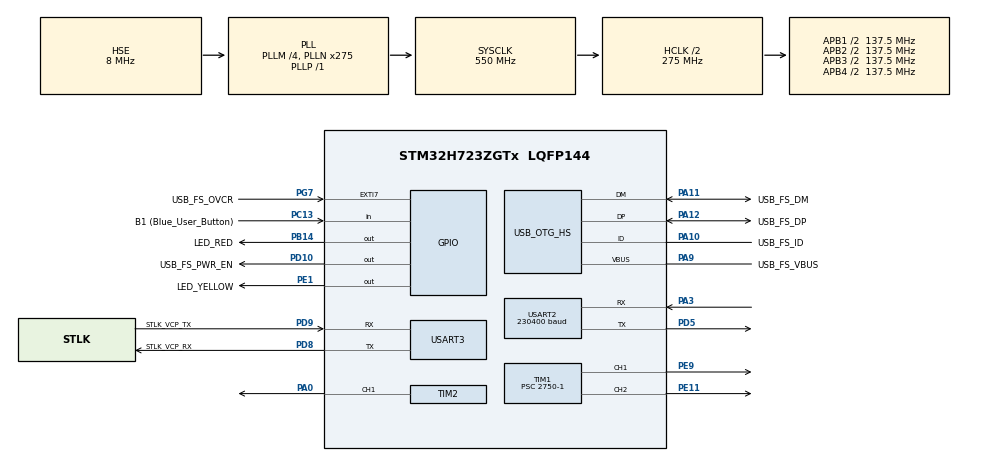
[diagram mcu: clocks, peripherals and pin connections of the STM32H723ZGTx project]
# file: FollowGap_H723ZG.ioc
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Dma.Request0=USART2_RX
Dma.USART2_RX.0.Direction=DMA_PERIPH_TO_MEMORY
Dma.USART2_RX.0.EventEnable=DISABLE
Dma.USART2_RX.0.FIFOMode=DMA_FIFOMODE_DISABLE
Dma.USART2_RX.0.Instance=DMA1_Stream0
Dma.USART2_RX.0.MemDataAlignment=DMA_MDATAALIGN_BYTE
Dma.USART2_RX.0.MemInc=DMA_MINC_ENABLE
Dma.USART2_RX.0.Mode=DMA_CIRCULAR
Dma.USART2_RX.0.PeriphDataAlignment=DMA_PDATAALIGN_BYTE
Dma.USART2_RX.0.PeriphInc=DMA_PINC_DISABLE
Dma.USART2_RX.0.Polarity=HAL_DMAMUX_REQ_GEN_RISING
Dma.USART2_RX.0.Priority=DMA_PRIORITY_LOW
Dma.USART2_RX.0.RequestNumber=1
Dma.USART2_RX.0.SignalID=NONE
Dma.USART2_RX.0.SyncEnable=DISABLE
Dma.USART2_RX.0.SyncPolarity=HAL_DMAMUX_SYNC_NO_EVENT
Dma.USART2_RX.0.SyncRequestNumber=1
Dma.USART2_RX.0.SyncSignalID=NONE
Mcu.Family=STM32H7
Mcu.Name=STM32H723ZGTx
Mcu.Package=LQFP144
NVIC.DMA1_Stream0_IRQn=true\:0\:0\:false\:false\:true\:false\:true\:true
NVIC.PriorityGroup=NVIC_PRIORITYGROUP_4
NVIC.USART2_IRQn=true\:0\:0\:false\:false\:true\:true\:true\:true
PA0.Signal=S_TIM2_CH1_ETR
PA10.GPIO_Label=USB_FS_ID
PA10.Mode=OTG/Dual-Role-Device-FS
PA10.Signal=USB_OTG_HS_ID
PA11.GPIO_Label=USB_FS_DM
PA11.Mode=OTG/Dual-Role-Device-FS
PA11.Signal=USB_OTG_HS_DM
PA12.GPIO_Label=USB_FS_DP
PA12.Mode=OTG/Dual-Role-Device-FS
PA12.Signal=USB_OTG_HS_DP
PA13(JTMS/SWDIO).GPIO_Label=SWDIO
PA13(JTMS/SWDIO).Mode=Trace_Asynchronous_SW
PA13(JTMS/SWDIO).Signal=DEBUG_JTMS-SWDIO
PA14(JTCK/SWCLK).GPIO_Label=SWCLK
PA14(JTCK/SWCLK).Mode=Trace_Asynchronous_SW
PA14(JTCK/SWCLK).Signal=DEBUG_JTCK-SWCLK
PA3.Mode=Asynchronous
PA3.Signal=USART2_RX
PA7.GPIO_Label=RMII_CRS_DV
PA7.Signal=ETH_CRS_DV
PA9.GPIO_Label=USB_FS_VBUS
PA9.Mode=Activate_VBUS_FS
PA9.Signal=USB_OTG_HS_VBUS
PB13.GPIO_Label=RMII_TXD1
PB13.Signal=ETH_TXD1
PB14.GPIO_Label=LED_RED
PB14.Signal=GPIO_Output
PB3(JTDO/TRACESWO).GPIO_Label=SWO
PB3(JTDO/TRACESWO).Mode=Trace_Asynchronous_SW
PB3(JTDO/TRACESWO).Signal=DEBUG_JTDO-SWO
PC1.GPIO_Label=RMII_MDC
PC1.Signal=ETH_MDC
PC13.GPIO_Label=B1 (Blue_User_Button)
PC13.Signal=GPIO_Input
PC14-OSC32_IN.Signal=RCC_OSC32_IN
PC15-OSC32_OUT.Signal=RCC_OSC32_OUT
PC4.GPIO_Label=RMII_RXD0
PC4.Signal=ETH_RXD0
PC5.GPIO_Label=RMII_RXD1
PC5.Signal=ETH_RXD1
PD10.GPIO_Label=USB_FS_PWR_EN
PD10.Signal=GPIO_Output
PD5.Mode=Asynchronous
PD5.Signal=USART2_TX
PD8.GPIO_Label=STLK_VCP_RX
PD8.Mode=Asynchronous
PD8.Signal=USART3_TX
PD9.GPIO_Label=STLK_VCP_TX
PD9.Mode=Asynchronous
PD9.Signal=USART3_RX
PE1.GPIO_Label=LED_YELLOW
PE1.Signal=GPIO_Output
PE11.Signal=S_TIM1_CH2
PE9.Signal=S_TIM1_CH1
PG11.GPIO_Label=RMII_TX_EN
PG11.Signal=ETH_TX_EN
PG13.GPIO_Label=RMII_TXD0
PG13.Signal=ETH_TXD0
PG7.GPIO_Label=USB_FS_OVCR
PG7.Signal=GPXTI7
PH0-OSC_IN.GPIO_Label=MCO
PH0-OSC_IN.Mode=HSE-External-Oscillator
PH0-OSC_IN.Signal=RCC_OSC_IN
PH1-OSC_OUT.Mode=HSE-External-Oscillator
PH1-OSC_OUT.Signal=RCC_OSC_OUT
ProjectManager.HeapSize=0x200
ProjectManager.StackSize=0x400
ProjectManager.TargetToolchain=STM32CubeIDE
RCC.ADCFreq_Value=76000000
RCC.APB1Freq_Value=137500000
RCC.APB2Freq_Value=137500000
RCC.APB3Freq_Value=137500000
RCC.APB4Freq_Value=137500000
RCC.CortexFreq_Value=550000000
RCC.D1PPRE=RCC_APB3_DIV2
RCC.D2PPRE1=RCC_APB1_DIV2
RCC.D2PPRE2=RCC_APB2_DIV2
RCC.D3PPRE=RCC_APB4_DIV2
RCC.DIVM1=4
RCC.DIVM2=1
RCC.DIVN1=275
RCC.DIVN2=19
RCC.DIVP1=1
RCC.DIVQ1=4
RCC.HCLKFreq_Value=275000000
RCC.HPRE=RCC_HCLK_DIV2
RCC.HSE_VALUE=8000000
RCC.PLLFRACN=0
RCC.PLLSourceVirtual=RCC_PLLSOURCE_HSE
RCC.SYSCLKFreq_VALUE=550000000
RCC.SYSCLKSource=RCC_SYSCLKSOURCE_PLLCLK
RCC.USBCLockSelection=RCC_USBCLKSOURCE_HSI48
RCC.USBFreq_Value=48000000
SH.S_TIM1_CH1.0=TIM1_CH1,PWM Generation1 CH1
SH.S_TIM1_CH2.0=TIM1_CH2,PWM Generation2 CH2
SH.S_TIM2_CH1_ETR.0=TIM2_CH1,PWM Generation1 CH1
TIM1.Channel-PWM\ Generation1\ CH1=TIM_CHANNEL_1
TIM1.Channel-PWM\ Generation2\ CH2=TIM_CHANNEL_2
TIM1.Period=1000-1
TIM1.Prescaler=2750-1
TIM2.Channel-PWM\ Generation1\ CH1=TIM_CHANNEL_1
TIM2.Period=1000-1
TIM2.Prescaler=10-1
USART2.BaudRate=230400
USART2.VirtualMode-Asynchronous=VM_ASYNC
USART3.VirtualMode-Asynchronous=VM_ASYNC
board=NUCLEO-H723ZG

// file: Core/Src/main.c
/* USER CODE BEGIN Header */
/**
  ******************************************************************************
  * @file           : main.c
  * @brief          : Main program body
  ******************************************************************************
  * @attention
  *
  * Copyright (c) 2023 STMicroelectronics.
  * All rights reserved.
  *
  * This software is licensed under terms that can be found in the LICENSE file
  * in the root directory of this software component.
  * If no LICENSE file comes with this software, it is provided AS-IS.
  *
  ******************************************************************************
  */
/* USER CODE END Header */
#include "main.h"

/* USER CODE BEGIN Includes */
#include <stdio.h>
#include <math.h>
#include <string.h>
#include <stdlib.h>
/* USER CODE END Includes */

/* USER CODE BEGIN PTD */
//typedef struct __attribute__ ((packed))
//{
//	uint16_t distance;
//}LidarPointStructDef;

typedef struct __attribute__((packed))
{
	uint16_t start_angle;
	uint16_t distance[12];
//	LidarPointStructDef point[12];
}LiDARFrameTypeDef;
/* USER CODE END PTD */

/* USER CODE BEGIN PM */
void SetArray(uint16_t frame[]);
void PreProcess_lidar(uint16_t frame[]);
/* USER CODE END PM */

TIM_HandleTypeDef htim1;
TIM_HandleTypeDef htim2;

UART_HandleTypeDef huart2;
UART_HandleTypeDef huart3;
DMA_HandleTypeDef hdma_usart2_rx;

/* USER CODE BEGIN PV */
uint8_t lidar_data = 0;
uint8_t data_buffer[47] = {0};
uint8_t count = 0;
uint16_t lidar_180[181]; //new changed 180 to 181
uint8_t steering_angle = 150;
uint8_t angle_count = 0;
uint8_t speed = 150;

static const uint8_t CrcTable[256] =
{
 0x00, 0x4d, 0x9a, 0xd7, 0x79, 0x34, 0xe3,
 0xae, 0xf2, 0xbf, 0x68, 0x25, 0x8b, 0xc6, 0x11, 0x5c, 0xa9, 0xe4, 0x33,
 0x7e, 0xd0, 0x9d, 0x4a, 0x07, 0x5b, 0x16, 0xc1, 0x8c, 0x22, 0x6f, 0xb8,
 0xf5, 0x1f, 0x52, 0x85, 0xc8, 0x66, 0x2b, 0xfc, 0xb1, 0xed, 0xa0, 0x77,
 0x3a, 0x94, 0xd9, 0x0e, 0x43, 0xb6, 0xfb, 0x2c, 0x61, 0xcf, 0x82, 0x55,
 0x18, 0x44, 0x09, 0xde, 0x93, 0x3d, 0x70, 0xa7, 0xea, 0x3e, 0x73, 0xa4,
 0xe9, 0x47, 0x0a, 0xdd, 0x90, 0xcc, 0x81, 0x56, 0x1b, 0xb5, 0xf8, 0x2f,
 0x62, 0x97, 0xda, 0x0d, 0x40, 0xee, 0xa3, 0x74, 0x39, 0x65, 0x28, 0xff,
 0xb2, 0x1c, 0x51, 0x86, 0xcb, 0x21, 0x6c, 0xbb, 0xf6, 0x58, 0x15, 0xc2,
 0x8f, 0xd3, 0x9e, 0x49, 0x04, 0xaa, 0xe7, 0x30, 0x7d, 0x88, 0xc5, 0x12,
 0x5f, 0xf1, 0xbc, 0x6b, 0x26, 0x7a, 0x37, 0xe0, 0xad, 0x03, 0x4e, 0x99,
 0xd4, 0x7c, 0x31, 0xe6, 0xab, 0x05, 0x48, 0x9f, 0xd2, 0x8e, 0xc3, 0x14,
 0x59, 0xf7, 0xba, 0x6d, 0x20, 0xd5, 0x98, 0x4f, 0x02, 0xac, 0xe1, 0x36,
 0x7b, 0x27, 0x6a, 0xbd, 0xf0, 0x5e, 0x13, 0xc4, 0x89, 0x63, 0x2e, 0xf9,
 0xb4, 0x1a, 0x57, 0x80, 0xcd, 0x91, 0xdc, 0x0b, 0x46, 0xe8, 0xa5, 0x72,
 0x3f, 0xca, 0x87, 0x50, 0x1d, 0xb3, 0xfe, 0x29, 0x64, 0x38, 0x75, 0xa2,
 0xef, 0x41, 0x0c, 0xdb, 0x96, 0x42, 0x0f, 0xd8, 0x95, 0x3b, 0x76, 0xa1,
 0xec, 0xb0, 0xfd, 0x2a, 0x67, 0xc9, 0x84, 0x53, 0x1e, 0xeb, 0xa6, 0x71,
 0x3c, 0x92, 0xdf, 0x08, 0x45, 0x19, 0x54, 0x83, 0xce, 0x60, 0x2d, 0xfa,
 0xb7, 0x5d, 0x10, 0xc7, 0x8a, 0x24, 0x69, 0xbe, 0xf3, 0xaf, 0xe2, 0x35,
 0x78, 0xd6, 0x9b, 0x4c, 0x01, 0xf4, 0xb9, 0x6e, 0x23, 0x8d, 0xc0, 0x17,
 0x5a, 0x06, 0x4b, 0x9c, 0xd1, 0x7f, 0x32, 0xe5, 0xa8
};
/* USER CODE END PV */

void SystemClock_Config(void);
static void MX_GPIO_Init(void);
static void MX_DMA_Init(void);
static void MX_USART3_UART_Init(void);
static void MX_USB_OTG_HS_USB_Init(void);
static void MX_TIM1_Init(void);
static void MX_TIM2_Init(void);
static void MX_USART2_UART_Init(void);

/* USER CODE BEGIN 0 */
uint8_t CalCRC8(uint8_t package[], uint8_t len)
{
	uint8_t crc = 0;
	uint16_t i;
	for (i = 0; i < len; i++)
	{
		crc = CrcTable[(crc ^ package[i]) & 0xff];
	}
	return crc;
}

void HAL_UART_RxCpltCallback(UART_HandleTypeDef *huart)
{

	if(lidar_data == 0x54 && data_buffer[0] == 0)
	{
		data_buffer[count] = lidar_data;
		count++;
	}
	else if (count <= 46 && data_buffer[0] == 0x54)
	{
		data_buffer[count] = lidar_data;
		count++;
	}
	return;
}
void MovingAverage(uint16_t frame[])
{

	int tmpAvg = 0;
	int Frame[180];

	for (int j = 4; j < 180; j++)
	{
		tmpAvg = 0;
			for (int i = j; i > j - 5; i--)
			{
				tmpAvg = tmpAvg + Frame[i];
			}
		tmpAvg = tmpAvg / 5;
		Frame[j - 2] = tmpAvg;
	}
	return;
}
void PreProcess_lidar(uint16_t frame[])
{
	float moving_average;
	for(uint8_t i = 2; i < 179; i++)
	{
		moving_average = 0;
		for(uint8_t j = i-2; j <= i+2; j++)
		{
			moving_average += frame[j];
		}
		frame[i] = (floor)(moving_average)/5;
	}
	return;
}
void CreateBubble(uint16_t *frame)
{
	uint8_t bubble_radius = 5;
	uint8_t min_index = 0;
	uint16_t min_value = 20000;
	for(uint8_t i = 1; i < 180; i++)
	{
		if(frame[i] == 0)
		{
			frame[i] = floor((frame[i-1] + frame[i+1])/2.0);
		}
		if(frame[i] < min_value)
		{
			min_index = i;
			min_value = frame[i];
		}

	}
	for(uint8_t i = min_index - bubble_radius ; i <= min_index + bubble_radius; i++)
	{
		frame[i] = 0;
	}
	return;
}
LiDARFrameTypeDef AssignValues(uint8_t package[])
{
	LiDARFrameTypeDef lf = {0};

	lf.start_angle = (package[5] << 8 | package[4]) / 100;

	for(int i = 0; i < 12; i++)
	{
		lf.distance[i] = (package[8 + i * 3 - 1] << 8 | package[8 + i * 3 - 2]);
	}

	return lf;
}

void SetArray(uint16_t *frame)
{
    for (uint8_t i = 0; i < 181; i++)
    {
        frame[i] = 1;
    }
    return;
}

void FindBiggestGap(uint16_t *frame)
{
	uint8_t max_gap_index = 90;
	uint8_t max_gap_length = 0;
	uint16_t minimum_gap = 1000;
	uint8_t gap_length;

	uint8_t i = 0;
	while (i <= 180)
	{
		if (frame[i] >= minimum_gap)
		{
			gap_length = 0;
			for (; i <= 180 && frame[i] >= minimum_gap; i++)
			{
				gap_length++;
			}

			if (max_gap_length < gap_length)
			{
				max_gap_index = i - gap_length;
				max_gap_length = gap_length;
			}
		}
		i++;
	}

	if (max_gap_length >= 10) //test with variable turning angle
	{
		uint16_t steer_direction = max_gap_index + floor(max_gap_length/2.0);
		if(steer_direction >= 60 && steer_direction <= 120)
		{
			steer_direction -= 60;
			steering_angle = 100 + floor(100*steer_direction/60.0);
		}
		else if(steer_direction < 60)
		{
			steering_angle = 100;
		}
		else if(steer_direction > 120)
		{
			steering_angle = 200;
		}
//		if (abs(steer_direction-150) > 30)  //test with linear function
//		{
//			speed = 160;
//		}
//		else
//		{
//			speed = 161;
//		}
	}

//	TIM1->CCR1 = speed;
	TIM1->CCR2 = steering_angle;
	return;
}

void FillArray(LiDARFrameTypeDef lf)
{
	uint16_t Angle_Index = lf.start_angle;
	if (Angle_Index <= 90 || Angle_Index >= 259)
	{
	    uint8_t i = 0;
	    if(Angle_Index >= 259)
	    {
	       if (Angle_Index < 270)
	       {
	          i = 270 - Angle_Index;
	          Angle_Index = 0;
	       }
	       else
	       {
	    	   Angle_Index -= 270;
	       }

	    }
	    else
	    {
	    	Angle_Index += 90;
	    }
	    for(; i < 12 && Angle_Index <= 180; i++ , Angle_Index++)
	    {
	      uint16_t Distance = lf.distance[i];

	      if (lidar_180[Angle_Index] == 1)
			  {
				  lidar_180[Angle_Index] = Distance;
				  angle_count++;
			  }
		  }
	  }

	return;
}

/* USER CODE END 0 */

int main(void)
{

  /* MCU Configuration--------------------------------------------------------*/

  /* Reset of all peripherals, Initializes the Flash interface and the Systick. */
  HAL_Init();

  /* Configure the system clock */
  SystemClock_Config();

  /* Initialize all configured peripherals */
  MX_GPIO_Init();
  MX_DMA_Init();
  MX_USART3_UART_Init();
  MX_USB_OTG_HS_USB_Init();
  MX_TIM1_Init();
  MX_TIM2_Init();
  MX_USART2_UART_Init();
  /* USER CODE BEGIN 2 */
  HAL_TIM_PWM_Start(&htim1, TIM_CHANNEL_1); //ESC
  HAL_TIM_PWM_Start(&htim1, TIM_CHANNEL_2); //Servo
  HAL_TIM_PWM_Start(&htim2, TIM_CHANNEL_1); //Lidar PWM
  TIM2->CCR1 = 550;
  TIM1->CCR2 = steering_angle;
  TIM1->CCR1 = speed;
  HAL_Delay(2000);
  TIM2->CCR1 = 312;
  HAL_Delay(1000);
  TIM1->CCR1 = 160;
  uint8_t crc_check_sum=0;
  LiDARFrameTypeDef lidar_frame;
  SetArray (lidar_180);

  /* USER CODE END 2 */

  /* Infinite loop */
  /* USER CODE BEGIN WHILE */
  while (1)
  {
	  if(count <= 46)
	  {
		  HAL_UART_Receive_DMA(&huart2, &lidar_data, 1);
	  }
	  else
	  {
			crc_check_sum = CalCRC8(data_buffer, 46);
			if(crc_check_sum == data_buffer[46])
			{
				lidar_frame = AssignValues(data_buffer);
				FillArray(lidar_frame);
				if(angle_count >= 180)
				{
//					PreProcess_lidar(lidar_180);
//					MovingAverage(lidar_180);
					CreateBubble(lidar_180);
					FindBiggestGap(lidar_180);

					SetArray (lidar_180);
					angle_count = 0;
					HAL_GPIO_TogglePin(GPIOE, GPIO_PIN_1);
				}

			}
			memset(data_buffer, 0x00, 47);
			crc_check_sum = 0;	//to hold return value of crc function
			count = 0;
	  }

    /* USER CODE END WHILE */

  }
}

void SystemClock_Config(void)
{
  RCC_OscInitTypeDef RCC_OscInitStruct = {0};
  RCC_ClkInitTypeDef RCC_ClkInitStruct = {0};

  /** Supply configuration update enable
  */
  HAL_PWREx_ConfigSupply(PWR_LDO_SUPPLY);

  /** Configure the main internal regulator output voltage
  */
  __HAL_PWR_VOLTAGESCALING_CONFIG(PWR_REGULATOR_VOLTAGE_SCALE0);

  while(!__HAL_PWR_GET_FLAG(PWR_FLAG_VOSRDY)) {}

  /** Initializes the RCC Oscillators according to the specified parameters
  * in the RCC_OscInitTypeDef structure.
  */
  RCC_OscInitStruct.OscillatorType = RCC_OSCILLATORTYPE_HSI48|RCC_OSCILLATORTYPE_HSE;
  RCC_OscInitStruct.HSEState = RCC_HSE_ON;
  RCC_OscInitStruct.HSI48State = RCC_HSI48_ON;
  RCC_OscInitStruct.PLL.PLLState = RCC_PLL_ON;
  RCC_OscInitStruct.PLL.PLLSource = RCC_PLLSOURCE_HSE;
  RCC_OscInitStruct.PLL.PLLM = 4;
  RCC_OscInitStruct.PLL.PLLN = 275;
  RCC_OscInitStruct.PLL.PLLP = 1;
  RCC_OscInitStruct.PLL.PLLQ = 4;
  RCC_OscInitStruct.PLL.PLLR = 2;
  RCC_OscInitStruct.PLL.PLLRGE = RCC_PLL1VCIRANGE_1;
  RCC_OscInitStruct.PLL.PLLVCOSEL = RCC_PLL1VCOWIDE;
  RCC_OscInitStruct.PLL.PLLFRACN = 0;
  if (HAL_RCC_OscConfig(&RCC_OscInitStruct) != HAL_OK)
  {
    Error_Handler();
  }

  /** Initializes the CPU, AHB and APB buses clocks
  */
  RCC_ClkInitStruct.ClockType = RCC_CLOCKTYPE_HCLK|RCC_CLOCKTYPE_SYSCLK
                              |RCC_CLOCKTYPE_PCLK1|RCC_CLOCKTYPE_PCLK2
                              |RCC_CLOCKTYPE_D3PCLK1|RCC_CLOCKTYPE_D1PCLK1;
  RCC_ClkInitStruct.SYSCLKSource = RCC_SYSCLKSOURCE_PLLCLK;
  RCC_ClkInitStruct.SYSCLKDivider = RCC_SYSCLK_DIV1;
  RCC_ClkInitStruct.AHBCLKDivider = RCC_HCLK_DIV2;
  RCC_ClkInitStruct.APB3CLKDivider = RCC_APB3_DIV2;
  RCC_ClkInitStruct.APB1CLKDivider = RCC_APB1_DIV2;
  RCC_ClkInitStruct.APB2CLKDivider = RCC_APB2_DIV2;
  RCC_ClkInitStruct.APB4CLKDivider = RCC_APB4_DIV2;

  if (HAL_RCC_ClockConfig(&RCC_ClkInitStruct, FLASH_LATENCY_3) != HAL_OK)
  {
    Error_Handler();
  }
}

static void MX_TIM1_Init(void)
{

  TIM_MasterConfigTypeDef sMasterConfig = {0};
  TIM_OC_InitTypeDef sConfigOC = {0};
  TIM_BreakDeadTimeConfigTypeDef sBreakDeadTimeConfig = {0};

  htim1.Instance = TIM1;
  htim1.Init.Prescaler = 2750-1;
  htim1.Init.CounterMode = TIM_COUNTERMODE_UP;
  htim1.Init.Period = 1000-1;
  htim1.Init.ClockDivision = TIM_CLOCKDIVISION_DIV1;
  htim1.Init.RepetitionCounter = 0;
  htim1.Init.AutoReloadPreload = TIM_AUTORELOAD_PRELOAD_DISABLE;
  if (HAL_TIM_PWM_Init(&htim1) != HAL_OK)
  {
    Error_Handler();
  }
  sMasterConfig.MasterOutputTrigger = TIM_TRGO_RESET;
  sMasterConfig.MasterOutputTrigger2 = TIM_TRGO2_RESET;
  sMasterConfig.MasterSlaveMode = TIM_MASTERSLAVEMODE_DISABLE;
  if (HAL_TIMEx_MasterConfigSynchronization(&htim1, &sMasterConfig) != HAL_OK)
  {
    Error_Handler();
  }
  sConfigOC.OCMode = TIM_OCMODE_PWM1;
  sConfigOC.Pulse = 0;
  sConfigOC.OCPolarity = TIM_OCPOLARITY_HIGH;
  sConfigOC.OCNPolarity = TIM_OCNPOLARITY_HIGH;
  sConfigOC.OCFastMode = TIM_OCFAST_DISABLE;
  sConfigOC.OCIdleState = TIM_OCIDLESTATE_RESET;
  sConfigOC.OCNIdleState = TIM_OCNIDLESTATE_RESET;
  if (HAL_TIM_PWM_ConfigChannel(&htim1, &sConfigOC, TIM_CHANNEL_1) != HAL_OK)
  {
    Error_Handler();
  }
  if (HAL_TIM_PWM_ConfigChannel(&htim1, &sConfigOC, TIM_CHANNEL_2) != HAL_OK)
  {
    Error_Handler();
  }
  sBreakDeadTimeConfig.OffStateRunMode = TIM_OSSR_DISABLE;
  sBreakDeadTimeConfig.OffStateIDLEMode = TIM_OSSI_DISABLE;
  sBreakDeadTimeConfig.LockLevel = TIM_LOCKLEVEL_OFF;
  sBreakDeadTimeConfig.DeadTime = 0;
  sBreakDeadTimeConfig.BreakState = TIM_BREAK_DISABLE;
  sBreakDeadTimeConfig.BreakPolarity = TIM_BREAKPOLARITY_HIGH;
  sBreakDeadTimeConfig.BreakFilter = 0;
  sBreakDeadTimeConfig.Break2State = TIM_BREAK2_DISABLE;
  sBreakDeadTimeConfig.Break2Polarity = TIM_BREAK2POLARITY_HIGH;
  sBreakDeadTimeConfig.Break2Filter = 0;
  sBreakDeadTimeConfig.AutomaticOutput = TIM_AUTOMATICOUTPUT_DISABLE;
  if (HAL_TIMEx_ConfigBreakDeadTime(&htim1, &sBreakDeadTimeConfig) != HAL_OK)
  {
    Error_Handler();
  }
  HAL_TIM_MspPostInit(&htim1);

}

static void MX_TIM2_Init(void)
{

  TIM_MasterConfigTypeDef sMasterConfig = {0};
  TIM_OC_InitTypeDef sConfigOC = {0};

  htim2.Instance = TIM2;
  htim2.Init.Prescaler = 10-1;
  htim2.Init.CounterMode = TIM_COUNTERMODE_UP;
  htim2.Init.Period = 1000-1;
  htim2.Init.ClockDivision = TIM_CLOCKDIVISION_DIV1;
  htim2.Init.AutoReloadPreload = TIM_AUTORELOAD_PRELOAD_DISABLE;
  if (HAL_TIM_PWM_Init(&htim2) != HAL_OK)
  {
    Error_Handler();
  }
  sMasterConfig.MasterOutputTrigger = TIM_TRGO_RESET;
  sMasterConfig.MasterSlaveMode = TIM_MASTERSLAVEMODE_DISABLE;
  if (HAL_TIMEx_MasterConfigSynchronization(&htim2, &sMasterConfig) != HAL_OK)
  {
    Error_Handler();
  }
  sConfigOC.OCMode = TIM_OCMODE_PWM1;
  sConfigOC.Pulse = 0;
  sConfigOC.OCPolarity = TIM_OCPOLARITY_HIGH;
  sConfigOC.OCFastMode = TIM_OCFAST_DISABLE;
  if (HAL_TIM_PWM_ConfigChannel(&htim2, &sConfigOC, TIM_CHANNEL_1) != HAL_OK)
  {
    Error_Handler();
  }
  HAL_TIM_MspPostInit(&htim2);

}

static void MX_USART2_UART_Init(void)
{

  huart2.Instance = USART2;
  huart2.Init.BaudRate = 230400;
  huart2.Init.WordLength = UART_WORDLENGTH_8B;
  huart2.Init.StopBits = UART_STOPBITS_1;
  huart2.Init.Parity = UART_PARITY_NONE;
  huart2.Init.Mode = UART_MODE_TX_RX;
  huart2.Init.HwFlowCtl = UART_HWCONTROL_NONE;
  huart2.Init.OverSampling = UART_OVERSAMPLING_16;
  huart2.Init.OneBitSampling = UART_ONE_BIT_SAMPLE_DISABLE;
  huart2.Init.ClockPrescaler = UART_PRESCALER_DIV1;
  huart2.AdvancedInit.AdvFeatureInit = UART_ADVFEATURE_NO_INIT;
  if (HAL_UART_Init(&huart2) != HAL_OK)
  {
    Error_Handler();
  }
  if (HAL_UARTEx_SetTxFifoThreshold(&huart2, UART_TXFIFO_THRESHOLD_1_8) != HAL_OK)
  {
    Error_Handler();
  }
  if (HAL_UARTEx_SetRxFifoThreshold(&huart2, UART_RXFIFO_THRESHOLD_1_8) != HAL_OK)
  {
    Error_Handler();
  }
  if (HAL_UARTEx_DisableFifoMode(&huart2) != HAL_OK)
  {
    Error_Handler();
  }

}

static void MX_USART3_UART_Init(void)
{

  huart3.Instance = USART3;
  huart3.Init.BaudRate = 115200;
  huart3.Init.WordLength = UART_WORDLENGTH_8B;
  huart3.Init.StopBits = UART_STOPBITS_1;
  huart3.Init.Parity = UART_PARITY_NONE;
  huart3.Init.Mode = UART_MODE_TX_RX;
  huart3.Init.HwFlowCtl = UART_HWCONTROL_NONE;
  huart3.Init.OverSampling = UART_OVERSAMPLING_16;
  huart3.Init.OneBitSampling = UART_ONE_BIT_SAMPLE_DISABLE;
  huart3.Init.ClockPrescaler = UART_PRESCALER_DIV1;
  huart3.AdvancedInit.AdvFeatureInit = UART_ADVFEATURE_NO_INIT;
  if (HAL_UART_Init(&huart3) != HAL_OK)
  {
    Error_Handler();
  }
  if (HAL_UARTEx_SetTxFifoThreshold(&huart3, UART_TXFIFO_THRESHOLD_1_8) != HAL_OK)
  {
    Error_Handler();
  }
  if (HAL_UARTEx_SetRxFifoThreshold(&huart3, UART_RXFIFO_THRESHOLD_1_8) != HAL_OK)
  {
    Error_Handler();
  }
  if (HAL_UARTEx_DisableFifoMode(&huart3) != HAL_OK)
  {
    Error_Handler();
  }

}

static void MX_USB_OTG_HS_USB_Init(void)
{

}

static void MX_DMA_Init(void)
{

  /* DMA controller clock enable */
  __HAL_RCC_DMA1_CLK_ENABLE();

  /* DMA interrupt init */
  /* DMA1_Stream0_IRQn interrupt configuration */
  HAL_NVIC_SetPriority(DMA1_Stream0_IRQn, 0, 0);
  HAL_NVIC_EnableIRQ(DMA1_Stream0_IRQn);

}

static void MX_GPIO_Init(void)
{
  GPIO_InitTypeDef GPIO_InitStruct = {0};

  /* GPIO Ports Clock Enable */
  __HAL_RCC_GPIOC_CLK_ENABLE();
  __HAL_RCC_GPIOH_CLK_ENABLE();
  __HAL_RCC_GPIOA_CLK_ENABLE();
  __HAL_RCC_GPIOE_CLK_ENABLE();
  __HAL_RCC_GPIOB_CLK_ENABLE();
  __HAL_RCC_GPIOD_CLK_ENABLE();
  __HAL_RCC_GPIOG_CLK_ENABLE();

  /*Configure GPIO pin Output Level */
  HAL_GPIO_WritePin(LED_RED_GPIO_Port, LED_RED_Pin, GPIO_PIN_RESET);

  /*Configure GPIO pin Output Level */
  HAL_GPIO_WritePin(USB_FS_PWR_EN_GPIO_Port, USB_FS_PWR_EN_Pin, GPIO_PIN_RESET);

  /*Configure GPIO pin Output Level */
  HAL_GPIO_WritePin(LED_YELLOW_GPIO_Port, LED_YELLOW_Pin, GPIO_PIN_RESET);

  /*Configure GPIO pin : B1_Pin */
  GPIO_InitStruct.Pin = B1_Pin;
  GPIO_InitStruct.Mode = GPIO_MODE_INPUT;
  GPIO_InitStruct.Pull = GPIO_NOPULL;
  HAL_GPIO_Init(B1_GPIO_Port, &GPIO_InitStruct);

  /*Configure GPIO pins : RMII_MDC_Pin RMII_RXD0_Pin RMII_RXD1_Pin */
  GPIO_InitStruct.Pin = RMII_MDC_Pin|RMII_RXD0_Pin|RMII_RXD1_Pin;
  GPIO_InitStruct.Mode = GPIO_MODE_AF_PP;
  GPIO_InitStruct.Pull = GPIO_NOPULL;
  GPIO_InitStruct.Speed = GPIO_SPEED_FREQ_LOW;
  GPIO_InitStruct.Alternate = GPIO_AF11_ETH;
  HAL_GPIO_Init(GPIOC, &GPIO_InitStruct);

  /*Configure GPIO pin : RMII_CRS_DV_Pin */
  GPIO_InitStruct.Pin = RMII_CRS_DV_Pin;
  GPIO_InitStruct.Mode = GPIO_MODE_AF_PP;
  GPIO_InitStruct.Pull = GPIO_NOPULL;
  GPIO_InitStruct.Speed = GPIO_SPEED_FREQ_LOW;
  GPIO_InitStruct.Alternate = GPIO_AF11_ETH;
  HAL_GPIO_Init(RMII_CRS_DV_GPIO_Port, &GPIO_InitStruct);

  /*Configure GPIO pin : RMII_TXD1_Pin */
  GPIO_InitStruct.Pin = RMII_TXD1_Pin;
  GPIO_InitStruct.Mode = GPIO_MODE_AF_PP;
  GPIO_InitStruct.Pull = GPIO_NOPULL;
  GPIO_InitStruct.Speed = GPIO_SPEED_FREQ_LOW;
  GPIO_InitStruct.Alternate = GPIO_AF11_ETH;
  HAL_GPIO_Init(RMII_TXD1_GPIO_Port, &GPIO_InitStruct);

  /*Configure GPIO pin : LED_RED_Pin */
  GPIO_InitStruct.Pin = LED_RED_Pin;
  GPIO_InitStruct.Mode = GPIO_MODE_OUTPUT_PP;
  GPIO_InitStruct.Pull = GPIO_NOPULL;
  GPIO_InitStruct.Speed = GPIO_SPEED_FREQ_LOW;
  HAL_GPIO_Init(LED_RED_GPIO_Port, &GPIO_InitStruct);

  /*Configure GPIO pin : USB_FS_PWR_EN_Pin */
  GPIO_InitStruct.Pin = USB_FS_PWR_EN_Pin;
  GPIO_InitStruct.Mode = GPIO_MODE_OUTPUT_PP;
  GPIO_InitStruct.Pull = GPIO_NOPULL;
  GPIO_InitStruct.Speed = GPIO_SPEED_FREQ_LOW;
  HAL_GPIO_Init(USB_FS_PWR_EN_GPIO_Port, &GPIO_InitStruct);

  /*Configure GPIO pin : USB_FS_OVCR_Pin */
  GPIO_InitStruct.Pin = USB_FS_OVCR_Pin;
  GPIO_InitStruct.Mode = GPIO_MODE_IT_RISING;
  GPIO_InitStruct.Pull = GPIO_NOPULL;
  HAL_GPIO_Init(USB_FS_OVCR_GPIO_Port, &GPIO_InitStruct);

  /*Configure GPIO pin : USB_FS_VBUS_Pin */
  GPIO_InitStruct.Pin = USB_FS_VBUS_Pin;
  GPIO_InitStruct.Mode = GPIO_MODE_INPUT;
  GPIO_InitStruct.Pull = GPIO_NOPULL;
  HAL_GPIO_Init(USB_FS_VBUS_GPIO_Port, &GPIO_InitStruct);

  /*Configure GPIO pin : USB_FS_ID_Pin */
  GPIO_InitStruct.Pin = USB_FS_ID_Pin;
  GPIO_InitStruct.Mode = GPIO_MODE_AF_PP;
  GPIO_InitStruct.Pull = GPIO_NOPULL;
  GPIO_InitStruct.Speed = GPIO_SPEED_FREQ_LOW;
  GPIO_InitStruct.Alternate = GPIO_AF10_OTG1_HS;
  HAL_GPIO_Init(USB_FS_ID_GPIO_Port, &GPIO_InitStruct);

  /*Configure GPIO pins : RMII_TX_EN_Pin RMII_TXD0_Pin */
  GPIO_InitStruct.Pin = RMII_TX_EN_Pin|RMII_TXD0_Pin;
  GPIO_InitStruct.Mode = GPIO_MODE_AF_PP;
  GPIO_InitStruct.Pull = GPIO_NOPULL;
  GPIO_InitStruct.Speed = GPIO_SPEED_FREQ_LOW;
  GPIO_InitStruct.Alternate = GPIO_AF11_ETH;
  HAL_GPIO_Init(GPIOG, &GPIO_InitStruct);

  /*Configure GPIO pin : LED_YELLOW_Pin */
  GPIO_InitStruct.Pin = LED_YELLOW_Pin;
  GPIO_InitStruct.Mode = GPIO_MODE_OUTPUT_PP;
  GPIO_InitStruct.Pull = GPIO_NOPULL;
  GPIO_InitStruct.Speed = GPIO_SPEED_FREQ_LOW;
  HAL_GPIO_Init(LED_YELLOW_GPIO_Port, &GPIO_InitStruct);

}

void Error_Handler(void)
{
  __disable_irq();
  while (1)
  {
  }
}
